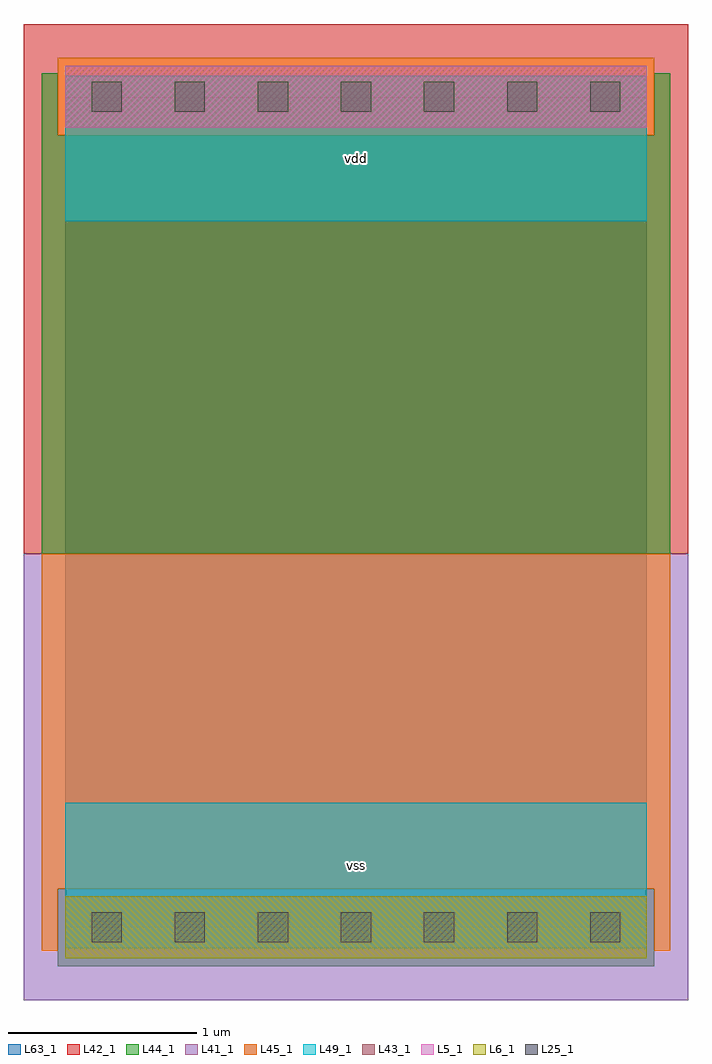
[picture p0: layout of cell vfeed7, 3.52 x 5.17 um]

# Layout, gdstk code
import gdstk
lib = gdstk.Library(unit=1e-6, precision=1e-09)
def R(c, l, rs):  # rectangles x0, y0, x1, y1
    for r in rs: c.add(gdstk.rectangle(r[:2], r[2:], *l))
def A(c, l, x, y, w, h, nx, ny, dx, dy):  # array of equal rectangles
    R(c, l, [(x+i*dx, y+j*dy, x+i*dx+w, y+j*dy+h) for i in range(nx) for j in range(ny)])
L5_1 = (5, 1)
L6_1 = (6, 1)
L25_1 = (25, 1)
L41_1 = (41, 1)
L42_1 = (42, 1)
L43_1 = (43, 1)
L44_1 = (44, 1)
L45_1 = (45, 1)
L49_1 = (49, 1)
L63_1 = (63, 1)

vfeed7 = lib.new_cell('vfeed7')
R(vfeed7, L5_1, [(0,4.235,3.08,4.565)])
R(vfeed7, L6_1, [(0,-0.165,3.08,0.165)])
A(vfeed7, L25_1, 0.14, -0.08, 0.16, 0.16, 7, 2, 0.44, 4.4)
R(vfeed7, L41_1, [(-0.22,-0.385,3.3,1.98)])
R(vfeed7, L42_1, [(-0.22,1.98,3.3,4.785)])
R(vfeed7, L43_1, [(0,-0.165,3.08,0.165), (0,4.235,3.08,4.565)])
R(vfeed7, L44_1, [(-0.04,-0.205,3.12,0.205), (-0.125,1.98,3.205,4.195), (-0.125,4.195,-0.04,4.525), (3.12,4.195,3.205,4.525)])
R(vfeed7, L45_1, [(-0.125,-0.125,-0.04,0.205), (3.12,-0.125,3.205,0.205), (-0.125,0.205,3.205,1.98), (-0.04,4.195,3.12,4.605)])
R(vfeed7, L49_1, [(0,-0.11,3.08,0.66), (0,3.74,3.08,4.51)])
R(vfeed7, L63_1, [(0,0,3.08,4.4)])
vfeed7.add(gdstk.Label('vss', (1.54,0.33), layer=49, texttype=1))
vfeed7.add(gdstk.Label('vdd', (1.54,4.07), layer=49, texttype=1))

lib.write_gds('vfeed7.gds')
